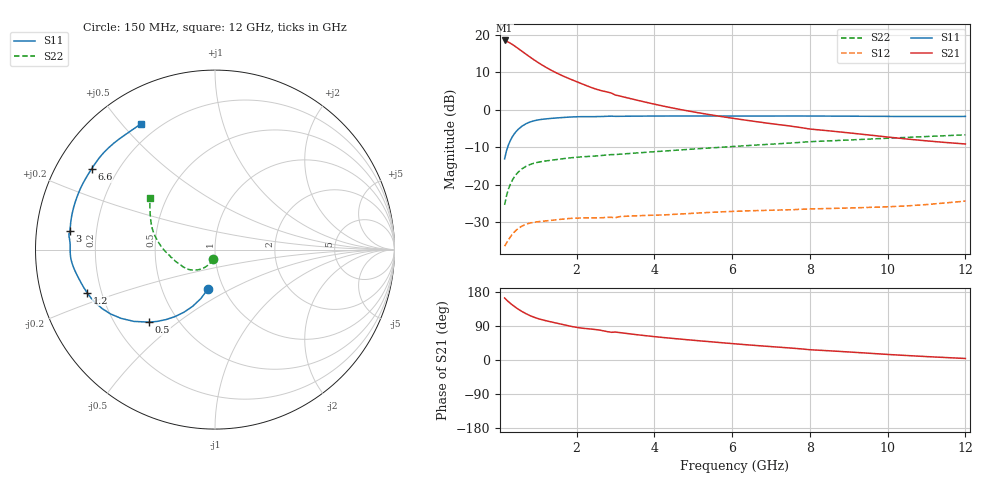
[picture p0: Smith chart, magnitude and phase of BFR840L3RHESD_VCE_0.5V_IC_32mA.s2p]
! Infineon Technologies  Discrete & RF Semiconductors
! BFR840L3RHESD
! VCE =  0.5 V,  IC =  32 mA
! Common Emitter S-Parameters:  Jun 2012
# GHz  S  MA  R  50
!  f  S11  S21  S12  S22
! GHz  MAG  ANG  MAG  ANG  MAG  ANG  MAG  ANG
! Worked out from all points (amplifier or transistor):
!   91 points, 150 MHz to 12 GHz, reference 50 ohm
!   highest |S21| = 18.5 dB at 150 MHz (marker M1)
!   |S21| within 3 dB of that: start of sweep to 611.2 MHz
!   unconditionally stable (mu >= 1): start of sweep to end of sweep
!   at 1.3 GHz: K = 1.79, MAG = 15.1 dB, |S12| = -29.6 dB
!   at 4.3 GHz: K = 3.50, MAG = 6.1 dB, |S12| = -28.1 dB
!   at 12 GHz: K = 6.67, MAG = -3.6 dB, |S12| = -24.4 dB
!   S11 on the Smith chart (normalised r, x): 150 MHz: 0.85, -0.39; 500 MHz: 0.34, -0.40; 1.2 GHz: 0.15, -0.16; 3 GHz: 0.10, +0.06; 6.6 GHz: 0.11, +0.30; 12 GHz: 0.14, +0.56
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0.15  0.2205 -99.8  8.408 163.6  0.015 21.6  0.0534 -101.4
0.2  0.2837 -106.1  8.207 158.4  0.0166 24.2  0.0712 -107.0
0.3  0.3898 -116.4  7.708 149.3  0.02 27.3  0.1015 -116.1
0.4  0.476 -125.0  7.139 141.4  0.0232 28.5  0.1262 -123.5
0.5  0.5465 -132.3  6.56 134.2  0.0258 28.5  0.1463 -129.8
0.6  0.6036 -138.5  6.011 127.8  0.0279 27.7  0.1624 -135.1
0.7  0.6486 -143.8  5.508 122.2  0.0294 26.6  0.175 -139.6
0.8  0.6831 -148.3  5.057 117.2  0.0305 25.2  0.1847 -143.4
1  0.7277 -155.7  4.303 109.5  0.0318 22.4  0.1978 -149.5
1.2  0.7522 -161.4  3.714 104.0  0.0326 20.4  0.2061 -153.9
1.4  0.7685 -166.0  3.256 99.3  0.0334 19.5  0.2128 -157.3
1.7  0.7891 -171.4  2.747 92.4  0.0347 19.3  0.2227 -161.1
1.9  0.7999 -174.5  2.485 88.0  0.0354 19.2  0.2287 -163.2
2.2  0.8067 -178.5  2.15 83.4  0.0358 18.4  0.2353 -166.0
2.9  0.8184 173.9  1.662 73.1  0.0364 19.8  0.2509 -170.7
3  0.8145 172.7  1.567 73.8  0.036 18.4  0.2513 -171.6
4.2  0.822 162.9  1.125 59.6  0.0392 21.8  0.2787 -178.4
6.1  0.8219 149.9  0.756 42.5  0.0439 24.3  0.3239 171.2
6.6  0.8216 146.8  0.694 38.4  0.0448 24.6  0.3361 168.5
8.5  0.8203 136.1  0.521 24.3  0.0478 26.5  0.3829 158.0
10.5  0.8113 126.5  0.405 11.8  0.0518 31.7  0.4263 148.2
12  0.8127 120.6  0.348 4.0  0.0601 33.0  0.461 141.8
